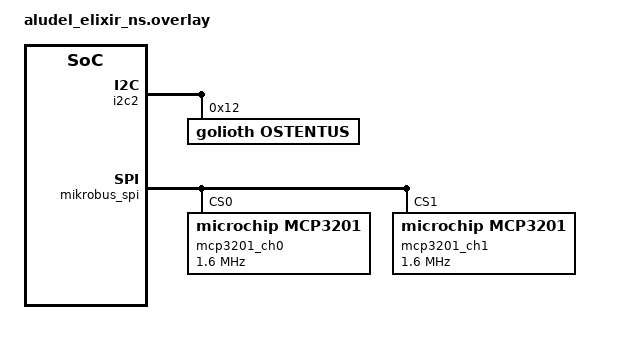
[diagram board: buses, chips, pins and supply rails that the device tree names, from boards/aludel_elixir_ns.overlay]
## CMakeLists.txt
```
# Copyright (c) 2023 Golioth, Inc.
# SPDX-License-Identifier: Apache-2.0

cmake_minimum_required(VERSION 3.20.0)

find_package(Zephyr REQUIRED HINTS $ENV{ZEPHYR_BASE})

project(ac_powermonitor)

target_sources(app PRIVATE src/main.c)
target_sources(app PRIVATE src/app_rpc.c)
target_sources(app PRIVATE src/app_settings.c)
target_sources(app PRIVATE src/app_state.c)
target_sources(app PRIVATE src/app_sensors.c)
```

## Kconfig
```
# Copyright (c) 2023 Golioth, Inc.
# SPDX-License-Identifier: Apache-2.0

mainmenu "Golioth application options"

if DNS_RESOLVER

config DNS_SERVER_IP_ADDRESSES
	default y

config DNS_SERVER1
	default "1.1.1.1"

endif # DNS_RESOLVER

source "Kconfig.zephyr"
```

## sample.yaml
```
# Copyright (c) 2023 Golioth, Inc.
# SPDX-License-Identifier: Apache-2.0

sample:
  description: Golioth AC Power Monitor Reference Design
  name: powermonitor
common:
  harness: net
  platform_allow: >
    nrf9160dk_nrf9160_ns
  tags: golioth
```

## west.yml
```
# Copyright (c) 2023 Golioth, Inc.
# SPDX-License-Identifier: Apache-2.0

manifest:
  version: 1.0

  projects:
    - name: golioth
      path: modules/lib/golioth-firmware-sdk
      revision: v0.21.0
      url: https://github.com/golioth/golioth-firmware-sdk.git
      west-commands: scripts/west-commands.yml
      submodules: true
      import:
        file: west-ncs.yml
        path-prefix: deps
        name-allowlist:
          - nrf
          - zephyr
          - cmsis_6
          - hal_nordic
          - mbedtls
          - mbedtls-nrf
          - mcuboot
          - net-tools
          - nrfxlib
          - oberon-psa-crypto
          - qcbor
          - segger
          - tfm-mcuboot
          - tinycrypt
          - trusted-firmware-m
          - zcbor

    - name: golioth-zephyr-boards
      path: deps/modules/lib/golioth-boards
      revision: v2.1.1
      url: https://github.com/golioth/golioth-zephyr-boards

    - name: libostentus
      path: deps/modules/lib/libostentus
      revision: v2.0.0
      url: https://github.com/golioth/libostentus

    - name: zephyr-network-info
      path: deps/modules/lib/network-info
      revision: v1.2.0
      url: https://github.com/golioth/zephyr-network-info

    - name: golioth-battery-monitor
      path: deps/modules/lib/battery-monitor
      revision: v1.1.0
      url: https://github.com/golioth/battery-monitor

  self:
    path: app
```

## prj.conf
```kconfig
# Copyright (c) 2022-2023 Golioth, Inc.
# SPDX-License-Identifier: Apache-2.0

# Enable Golioth Firmware SDK
CONFIG_GOLIOTH_FIRMWARE_SDK=y

# Golioth services used in this app
CONFIG_GOLIOTH_FW_UPDATE=y
CONFIG_GOLIOTH_LIGHTDB_STATE=y
CONFIG_LOG_BACKEND_GOLIOTH=y
CONFIG_GOLIOTH_RPC=y
CONFIG_GOLIOTH_SETTINGS=y
CONFIG_GOLIOTH_STREAM=y

# Enable common sample library
CONFIG_GOLIOTH_SAMPLE_COMMON=y

# Configure Golioth SDK dependencies
CONFIG_ZVFS_EVENTFD_MAX=14
CONFIG_ZVFS_OPEN_MAX=23
CONFIG_LOG_PROCESS_THREAD_STACK_SIZE=1536
CONFIG_MBEDTLS_ENABLE_HEAP=y
CONFIG_MBEDTLS_HEAP_SIZE=10240
CONFIG_NETWORKING=y
CONFIG_NET_IPV4=y
CONFIG_COAP_EXTENDED_OPTIONS_LEN=y
CONFIG_COAP_EXTENDED_OPTIONS_LEN_VALUE=39

# Application
CONFIG_MAIN_STACK_SIZE=4096
CONFIG_SYSTEM_WORKQUEUE_STACK_SIZE=4096
CONFIG_NET_LOG=y
CONFIG_NET_SHELL=y
CONFIG_REBOOT=y

# Flash memory (etc.) for firmware upgrade
CONFIG_FLASH=y
CONFIG_FLASH_MAP=y
CONFIG_NVS=y
CONFIG_STREAM_FLASH=y
CONFIG_IMG_MANAGER=y
CONFIG_IMG_ERASE_PROGRESSIVELY=y
CONFIG_REBOOT=y

# The rest of the runtime credentials config
CONFIG_SETTINGS=y
CONFIG_SETTINGS_RUNTIME=y
CONFIG_GOLIOTH_SAMPLE_SETTINGS_AUTOLOAD=y
CONFIG_GOLIOTH_SAMPLE_SETTINGS_SHELL=y

# Misc.
CONFIG_JSON_LIBRARY=y

# Longer response length needed for network info
CONFIG_GOLIOTH_RPC_MAX_RESPONSE_LEN=512
CONFIG_I2C=y

CONFIG_GPIO=y
CONFIG_SPI=y

CONFIG_CBPRINTF_FP_SUPPORT=y
```

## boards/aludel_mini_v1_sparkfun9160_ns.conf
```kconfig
# Copyright (c) 2023 Golioth, Inc.
# SPDX-License-Identifier: Apache-2.0

# General config
CONFIG_HEAP_MEM_POOL_SIZE=4096
CONFIG_NEWLIB_LIBC=y

# Networking
CONFIG_NET_SOCKETS_OFFLOAD=y
CONFIG_NET_IPV6=y
CONFIG_NET_IPV6_NBR_CACHE=n
CONFIG_NET_IPV6_MLD=n

# Increase native TLS socket implementation, so that it is chosen instead of
# offloaded nRF91 sockets
CONFIG_NET_SOCKETS_TLS_PRIORITY=35

# Modem library
CONFIG_NRF_MODEM_LIB=y
CONFIG_NRF_MODEM_LIB_ON_FAULT_APPLICATION_SPECIFIC=y

# LTE connectivity with network connection manager
CONFIG_LTE_CONNECTIVITY=y
CONFIG_NET_CONNECTION_MANAGER=y
CONFIG_NET_CONNECTION_MANAGER_STACK_SIZE=1024

# Increased sysworkq size, due to LTE connectivity
CONFIG_SYSTEM_WORKQUEUE_STACK_SIZE=2048

# Disable options y-selected by NCS for no good reason
CONFIG_MBEDTLS_KEY_EXCHANGE_DHE_PSK_ENABLED=n
CONFIG_MBEDTLS_KEY_EXCHANGE_DHE_RSA_ENABLED=n

# Add Network Info Support
CONFIG_MODEM_INFO=y
CONFIG_GOLIOTH_RPC_MAX_RESPONSE_LEN=512

# Generate MCUboot compatible images
CONFIG_BOOTLOADER_MCUBOOT=y
```

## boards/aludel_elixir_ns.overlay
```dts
&i2c2 {
	/* Needed for I2C writes used by libostentus */
	zephyr,concat-buf-size = <48>;

	ostentus@12 {
		status = "okay";
		compatible = "golioth,ostentus";
		reg = <0x12>;
	};
};

&mikrobus_spi {
	status = "okay";

	mcp3201_ch0: mcp3201@0 {
		compatible = "microchip,mcp3201";
		reg = <0>;
		spi-max-frequency = <1600000>;
	};

	mcp3201_ch1: mcp3201@1 {
		compatible = "microchip,mcp3201";
		reg = <1>;
		spi-max-frequency = <1600000>;
	};
};
```

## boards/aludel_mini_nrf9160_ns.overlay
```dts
&i2c2 {
	/* Needed for I2C writes used by libostentus */
	zephyr,concat-buf-size = <48>;

	ostentus@12 {
		status = "okay";
		compatible = "golioth,ostentus";
		reg = <0x12>;
	};
};

&mikrobus_spi {
	status = "okay";

	mcp3201_ch0: mcp3201@0 {
		compatible = "microchip,mcp3201";
		reg = <0>;
		spi-max-frequency = <1600000>;
	};

	mcp3201_ch1: mcp3201@1 {
		compatible = "microchip,mcp3201";
		reg = <1>;
		spi-max-frequency = <1600000>;
	};
};

&uart1 {
	status = "disabled";
};
```

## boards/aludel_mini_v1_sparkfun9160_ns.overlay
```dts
&spi2 {
	mcp3201_ch0: mcp3201@0 {
		compatible = "microchip,mcp3201";
		reg = <0>;
		spi-max-frequency = <1600000>;
	};
	mcp3201_ch1: mcp3201@1 {
		compatible = "microchip,mcp3201";
		reg = <1>;
		spi-max-frequency = <1600000>;
	};
};
```

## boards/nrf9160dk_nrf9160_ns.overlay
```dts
/*
 * Copyright (c) 2023 Golioth, Inc.
 *
 * SPDX-License-Identifier: Apache-2.0
 */

/ {
	aliases {
		golioth-led = &led2;
	};
};

&arduino_spi {
	status = "okay";
	cs-gpios = <&arduino_header 16 GPIO_ACTIVE_LOW>, /* D10 */
		   <&arduino_header 15 GPIO_ACTIVE_LOW>; /* D9 */

	mcp3201_ch0: mcp3201@0 {
		compatible = "microchip,mcp3201";
		reg = <0>;
		spi-max-frequency = <1600000>;
	};
	mcp3201_ch1: mcp3201@1 {
		compatible = "microchip,mcp3201";
		reg = <1>;
		spi-max-frequency = <1600000>;
	};
};

&pinctrl {
	/*
	 * Arduino Uno provides the same SCL/SDA on two sets of pins, but the
	 * nRF9160-DK maps these pins to two different pairs of GPIO. When using
	 * the Arduino Uno Click Shield board, the P0.18/P0.19 pair must be used.
	 */
	i2c2_default: i2c2_default {
		group1 {
			psels = <NRF_PSEL(TWIM_SDA, 0, 18)>,
				<NRF_PSEL(TWIM_SCL, 0, 19)>;
		};
	};

	i2c2_sleep: i2c2_sleep {
		group1 {
			psels = <NRF_PSEL(TWIM_SDA, 0, 18)>,
				<NRF_PSEL(TWIM_SCL, 0, 19)>;
			low-power-enable;
		};
	};

	/*
	 * The default pin group includes RTS/CTS HW flow control, but the Arduino
	 * Uno Click Shield board does not connect these pins (only TX/RX are used).
	 * This keeps RX/TX on the same pins, but just removes RTS/CTS from the
	 * pin groups.
	 */
	uart1_default: uart1_default {
		group1 {
			psels = <NRF_PSEL(UART_TX, 0, 1)>,
				<NRF_PSEL(UART_RX, 0, 0)>;
		};
	};

	uart1_sleep: uart1_sleep {
		group1 {
			psels = <NRF_PSEL(UART_TX, 0, 1)>,
				<NRF_PSEL(UART_RX, 0, 0)>;
			low-power-enable;
		};
	};
};
```

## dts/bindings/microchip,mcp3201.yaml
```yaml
# Copyright (c) 2023 Golioth, Inc.
# SPDX-License-Identifier: Apache-2.0

description: |
    MCP3201 used to measure voltage from an AC current clamp
compatible: "microchip,mcp3201"

include: spi-device.yaml
```

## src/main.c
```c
/*
 * Copyright (c) 2023 Golioth, Inc.
 *
 * SPDX-License-Identifier: Apache-2.0
 */

#include <zephyr/logging/log.h>
LOG_MODULE_REGISTER(golioth_ac_powermonitor, LOG_LEVEL_DBG);

#include <app_version.h>
#include "app_rpc.h"
#include "app_settings.h"
#include "app_state.h"
#include "app_sensors.h"
#include <golioth/client.h>
#include <golioth/fw_update.h>
#include <samples/common/net_connect.h>
#include <samples/common/sample_credentials.h>
#include <zephyr/kernel.h>

#ifdef CONFIG_SOC_SERIES_NRF91X
#include <modem/lte_lc.h>
#endif
#ifdef CONFIG_LIB_OSTENTUS
#include <libostentus.h>
#include <libostentus_regmap.h>
static const struct device *o_dev = DEVICE_DT_GET_ANY(golioth_ostentus);
#endif
#ifdef CONFIG_ALUDEL_BATTERY_MONITOR
#include <battery_monitor.h>
#endif

#include <zephyr/drivers/gpio.h>

#ifdef CONFIG_MODEM_INFO
#include <modem/modem_info.h>
#endif

/* Current firmware version; update in VERSION */
static const char *_current_version =
	STRINGIFY(APP_VERSION_MAJOR) "." STRINGIFY(APP_VERSION_MINOR) "." STRINGIFY(APP_PATCHLEVEL);

static struct golioth_client *client;
K_SEM_DEFINE(connected, 0, 1);

static k_tid_t _system_thread = 0;

#if DT_NODE_EXISTS(DT_ALIAS(golioth_led))
static const struct gpio_dt_spec golioth_led = GPIO_DT_SPEC_GET(DT_ALIAS(golioth_led), gpios);
#endif /* DT_NODE_EXISTS(DT_ALIAS(golioth_led)) */
static const struct gpio_dt_spec user_btn = GPIO_DT_SPEC_GET(DT_ALIAS(sw1), gpios);
static struct gpio_callback button_cb_data;

/* forward declarations */
void golioth_connection_led_set(uint8_t state);

void wake_system_thread(void)
{
	k_wakeup(_system_thread);
}

static void on_client_event(struct golioth_client *client, enum golioth_client_event event,
			    void *arg)
{
	bool is_connected = (event == GOLIOTH_CLIENT_EVENT_CONNECTED);

	if (is_connected) {
		k_sem_give(&connected);
		golioth_connection_led_set(1);
	}
	LOG_INF("Golioth client %s", is_connected ? "connected" : "disconnected");
}

static void start_golioth_client(void)
{
	/* Get the client configuration from auto-loaded settings */
	const struct golioth_client_config *client_config = golioth_sample_credentials_get();

	/* Create and start a Golioth Client */
	client = golioth_client_create(client_config);

	/* Register Golioth on_connect callback */
	golioth_client_register_event_callback(client, on_client_event, NULL);

	/* Initialize DFU components */
	golioth_fw_update_init(client, _current_version);

	/*** Call Golioth APIs for other services in dedicated app files ***/

	/* Observe State service data */
	app_state_observe(client);

	/* Set Golioth Client for streaming sensor data */
	app_sensors_set_client(client);

	/* Register Settings service */
	app_settings_register(client);

	/* Register RPC service */
	app_rpc_register(client);
}

#ifdef CONFIG_SOC_SERIES_NRF91X

static void lte_handler(const struct lte_lc_evt *const evt)
{
	if (evt->type == LTE_LC_EVT_NW_REG_STATUS) {

		if ((evt->nw_reg_status == LTE_LC_NW_REG_REGISTERED_HOME) ||
		    (evt->nw_reg_status == LTE_LC_NW_REG_REGISTERED_ROAMING)) {

			/* Change the state of the Internet LED on Ostentus */
			IF_ENABLED(CONFIG_LIB_OSTENTUS, (ostentus_led_internet_set(o_dev, 1);));

			if (!client) {
				/* Create and start a Golioth Client */
				start_golioth_client();
			}
		}
	}
}

#endif /* CONFIG_SOC_SERIES_NRF91X */

#ifdef CONFIG_MODEM_INFO
static void log_modem_firmware_version(void)
{
	char sbuf[128];

	/* Initialize modem info */
	int err = modem_info_init();

	if (err) {
		LOG_ERR("Failed to initialize modem info: %d", err);
	}

	/* Log modem firmware version */
	modem_info_string_get(MODEM_INFO_FW_VERSION, sbuf, sizeof(sbuf));
	LOG_INF("Modem firmware version: %s", sbuf);
}
#endif

void button_pressed(const struct device *dev, struct gpio_callback *cb, uint32_t pins)
{
	LOG_DBG("Button pressed at %d", k_cycle_get_32());
	/* This function is an Interrupt Service Routine. Do not call functions that
	 * use other threads, or perform long-running operations here
	 */
	k_wakeup(_system_thread);
}

/* Set (unset) LED indicators for active Golioth connection */
void golioth_connection_led_set(uint8_t state)
{
	uint8_t pin_state = state ? 1 : 0;
	ARG_UNUSED(pin_state); /* silence warning if no LED/Ostentus present */

	/* Turn on Golioth logo LED once connected */
	IF_ENABLED(DT_NODE_EXISTS(DT_ALIAS(golioth_led)),
		(gpio_pin_set_dt(&golioth_led, pin_state);));

	/* Change the state of the Golioth LED on Ostentus */
	IF_ENABLED(CONFIG_LIB_OSTENTUS, (ostentus_led_golioth_set(o_dev, pin_state);));
}

int main(void)
{
	int err;

	LOG_DBG("Start AC Power Monitor Reference Design");

	LOG_INF("Firmware version: %s", _current_version);
	IF_ENABLED(CONFIG_MODEM_INFO, (log_modem_firmware_version();));

	IF_ENABLED(CONFIG_LIB_OSTENTUS, (
		/* Reset Ostentus and pause for reboot */
		ostentus_reset(o_dev);
		k_msleep(300);

		/* Read firmware version from faceplate */
		char *o_version = (char *)calloc(32, sizeof(char));

		ostentus_version_get(o_dev, o_version, 32);
		LOG_INF("Ostentus reports firmware version: %s", o_version);
		free(o_version);

		/* Update Ostentus LEDS using bitmask (Power On and Battery) */
		ostentus_led_bitmask(o_dev, LED_POW | LED_BAT);

		/* Show Golioth Logo on Ostentus ePaper screen */
		ostentus_show_splash(o_dev);
	));

	/* Get system thread id so loop delay change event can wake main */
	_system_thread = k_current_get();

	/* Initialize sensors */
	app_sensors_init();

#if DT_NODE_EXISTS(DT_ALIAS(golioth_led))
	/* Initialize Golioth logo LED */
	err = gpio_pin_configure_dt(&golioth_led, GPIO_OUTPUT_INACTIVE);
	if (err) {
		LOG_ERR("Unable to configure LED for Golioth Logo");
	}
#endif /* #if DT_NODE_EXISTS(DT_ALIAS(golioth_led)) */

#ifdef CONFIG_SOC_SERIES_NRF91X
	/* Start LTE asynchronously if the nRF9160 is used.
	 * Golioth Client will start automatically when LTE connects
	 */

	LOG_INF("Connecting to LTE, this may take some time...");
	lte_lc_connect_async(lte_handler);

#else
	/* If nRF9160 is not used, start the Golioth Client and block until connected */

	/* Run WiFi/DHCP if necessary */
	if (IS_ENABLED(CONFIG_GOLIOTH_SAMPLE_COMMON)) {
		net_connect();
	}

	/* Start Golioth client */
	start_golioth_client();

	/* Block until connected to Golioth */
	k_sem_take(&connected, K_FOREVER);
#endif /* CONFIG_SOC_SERIES_NRF91X */

	/* Set up user button */
	err = gpio_pin_configure_dt(&user_btn, GPIO_INPUT);
	if (err) {
		LOG_ERR("Error %d: failed to configure %s pin %d", err, user_btn.port->name,
			user_btn.pin);
		return err;
	}

	err = gpio_pin_interrupt_configure_dt(&user_btn, GPIO_INT_EDGE_TO_ACTIVE);
	if (err) {
		LOG_ERR("Error %d: failed to configure interrupt on %s pin %d", err,
			user_btn.port->name, user_btn.pin);
		return err;
	}

	gpio_init_callback(&button_cb_data, button_pressed, BIT(user_btn.pin));
	gpio_add_callback(user_btn.port, &button_cb_data);

	IF_ENABLED(CONFIG_LIB_OSTENTUS,(
		/* Set up a slideshow on Ostentus
		 *  - add up to 256 slides
		 *  - use the enum in app_sensors.h to add new keys
		 *  - values are updated using these keys (see app_sensors.c)
		 */
		ostentus_slide_add(o_dev, CH0_CURRENT, CH0_CUR_LABEL, strlen(CH0_CUR_LABEL));
		ostentus_slide_add(o_dev, CH1_CURRENT, CH1_CUR_LABEL, strlen(CH1_CUR_LABEL));

		ostentus_slide_add(o_dev, CH0_ONTIME, CH0_ONTIME_LBL, strlen(CH0_ONTIME_LBL));
		ostentus_slide_add(o_dev, CH1_ONTIME, CH1_ONTIME_LBL, strlen(CH1_ONTIME_LBL));

		IF_ENABLED(CONFIG_ALUDEL_BATTERY_MONITOR, (
			ostentus_slide_add(o_dev,
					   BATTERY_V,
					   LABEL_BATTERY,
					   strlen(LABEL_BATTERY));
			ostentus_slide_add(o_dev,
					   BATTERY_PCT,
					   LABEL_BATTERY,
					   strlen(LABEL_BATTERY));
		));
		ostentus_slide_add(o_dev, FIRMWARE, LABEL_FIRMWARE, strlen(LABEL_FIRMWARE));

		/* Set the title of the Ostentus summary slide (optional) */
		ostentus_summary_title(o_dev, SUMMARY_TITLE, strlen(SUMMARY_TITLE));

		/* Update the Firmware slide with the firmware version */
		ostentus_slide_set(o_dev, FIRMWARE, (char *)_current_version,
			  strlen(_current_version));

		/* Start Ostentus slideshow with 30 second delay between slides */
		ostentus_slideshow(o_dev, 30000);
	));

	while (true) {
		app_sensors_read_and_stream();

		k_sleep(K_SECONDS(get_loop_delay_s()));
	}
}
```

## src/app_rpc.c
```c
/*
 * Copyright (c) 2023 Golioth, Inc.
 *
 * SPDX-License-Identifier: Apache-2.0
 */

#include <zephyr/logging/log.h>
#include <zephyr/logging/log_ctrl.h>
LOG_MODULE_REGISTER(app_rpc, LOG_LEVEL_DBG);

#include <golioth/client.h>
#include <golioth/rpc.h>
#include <zephyr/logging/log_ctrl.h>
#include <zephyr/sys/reboot.h>

#ifdef CONFIG_NETWORK_INFO
#include <network_info.h>
#endif

#include "main.h"
#include "app_sensors.h"
#include "app_rpc.h"

static void reboot_work_handler(struct k_work *work)
{
	for (int8_t i = 5; i >= 0; i--) {
		if (i) {
			LOG_INF("Rebooting in %d seconds...", i);
		}
		k_sleep(K_SECONDS(1));
	}

	/* Sync logs before reboot */
	LOG_PANIC();

	sys_reboot(SYS_REBOOT_COLD);
}
K_WORK_DEFINE(reboot_work, reboot_work_handler);

static enum golioth_rpc_status on_get_network_info(zcbor_state_t *request_params_array,
						   zcbor_state_t *response_detail_map,
						   void *callback_arg)
{
	COND_CODE_1(CONFIG_NETWORK_INFO,
		    (network_info_add_to_map(response_detail_map); return GOLIOTH_RPC_OK;),
		    (return GOLIOTH_RPC_UNIMPLEMENTED););
}

static enum golioth_rpc_status on_set_log_level(zcbor_state_t *request_params_array,
						zcbor_state_t *response_detail_map,
						void *callback_arg)
{
	double param_0;
	uint8_t log_level;
	bool ok;

	LOG_WRN("on_set_log_level");

	ok = zcbor_float_decode(request_params_array, &param_0);
	if (!ok) {
		LOG_ERR("Failed to decode array item");
		return GOLIOTH_RPC_INVALID_ARGUMENT;
	}

	log_level = (uint8_t)param_0;

	if ((log_level < 0) || (log_level > LOG_LEVEL_DBG)) {

		LOG_ERR("Requested log level is out of bounds: %d", log_level);
		return GOLIOTH_RPC_INVALID_ARGUMENT;
	}

	int source_id = 0;
	char *source_name;

	while (1) {
		source_name = (char *)log_source_name_get(0, source_id);
		if (source_name == NULL) {
			break;
		}

		log_filter_set(NULL, 0, source_id, log_level);
		++source_id;
	}

	LOG_WRN("Log levels for %d modules set to: %d", source_id, log_level);

	ok = zcbor_tstr_put_lit(response_detail_map, "log_modules") &&
	     zcbor_float64_put(response_detail_map, (double)source_id);

	return GOLIOTH_RPC_OK;
}

static enum golioth_rpc_status on_reboot(zcbor_state_t *request_params_array,
					 zcbor_state_t *response_detail_map, void *callback_arg)
{
	/* Use work queue so this RPC can return confirmation to Golioth */
	k_work_submit(&reboot_work);

	return GOLIOTH_RPC_OK;
}

static enum golioth_rpc_status on_reset_cumulative(zcbor_state_t *request_params_array,
						   zcbor_state_t *response_detail_map,
						   void *callback_arg)
{
	LOG_INF("Request to reset cumulative values received. Processing now.");
	int err = reset_cumulative_totals();
	if (0 != err)
	{
		return GOLIOTH_RPC_PERMISSION_DENIED;
	}

	wake_system_thread();
	return GOLIOTH_RPC_OK;
}

static void rpc_log_if_register_failure(int err)
{
	if (err) {
		LOG_ERR("Failed to register RPC: %d", err);
	}
}

void app_rpc_register(struct golioth_client *client)
{
	struct golioth_rpc *rpc = golioth_rpc_init(client);

	int err;

	err = golioth_rpc_register(rpc, "get_network_info", on_get_network_info, NULL);
	rpc_log_if_register_failure(err);

	err = golioth_rpc_register(rpc, "reboot", on_reboot, NULL);
	rpc_log_if_register_failure(err);

	err = golioth_rpc_register(rpc, "reset_cumulative", on_reset_cumulative, NULL);
	rpc_log_if_register_failure(err);

	err = golioth_rpc_register(rpc, "set_log_level", on_set_log_level, NULL);
	rpc_log_if_register_failure(err);
}
```

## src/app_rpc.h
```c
/*
 * Copyright (c) 2023 Golioth, Inc.
 *
 * SPDX-License-Identifier: Apache-2.0
 */

/**
 * Handle remote procedure calls received from Golioth, returning a status code
 * indicating the success or failure of the call.
 *
 * This demonstration implements the following RPCs:
 * - `get_network_info`: Query and return network information.
 * - `reboot`: reboot the device (no arguments)
 * - `set_log_level`: adjust the logging level for all registered modules (valid
 *   argument values: 0..4)
 *
 * https://docs.golioth.io/firmware/zephyr-device-sdk/remote-procedure-call
 */

#ifndef __APP_RPC_H__
#define __APP_RPC_H__

#include <golioth/client.h>

void app_rpc_register(struct golioth_client *client);

#endif /* __APP_RPC_H__ */
```

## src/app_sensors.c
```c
/*
 * Copyright (c) 2023 Golioth, Inc.
 *
 * SPDX-License-Identifier: Apache-2.0
 */

#include <zephyr/logging/log.h>
LOG_MODULE_REGISTER(app_sensors, LOG_LEVEL_DBG);

#include <stdlib.h>
#include <golioth/client.h>
#include <golioth/lightdb_state.h>
#include <golioth/payload_utils.h>
#include <golioth/stream.h>
#include <zcbor_decode.h>
#include <zcbor_encode.h>
#include <zephyr/drivers/spi.h>
#include <zephyr/drivers/gpio.h>
#include <zephyr/drivers/sensor.h>

#include "app_sensors.h"
#include "app_state.h"
#include "app_settings.h"

#ifdef CONFIG_LIB_OSTENTUS
#include <libostentus.h>
static const struct device *o_dev = DEVICE_DT_GET_ANY(golioth_ostentus);
#endif
#ifdef CONFIG_ALUDEL_BATTERY_MONITOR
#include <battery_monitor.h>
#endif

#define ADC_RAW_TO_AMP (0.003529412f)
#define SPI_OP	SPI_OP_MODE_MASTER | SPI_MODE_CPOL | SPI_MODE_CPHA | SPI_WORD_SET(8) | SPI_LINES_SINGLE

static struct golioth_client *client;

struct k_sem adc_data_sem;

/* Formatting string for sending sensor JSON to Golioth */
#define JSON_FMT "{\"ch0\":%d,\"ch1\":%d}"
#define ADC_STREAM_ENDP	"sensor"
#define ADC_CUMULATIVE_ENDP	"state/cumulative"

#define ADC_CH0 0
#define ADC_CH1 1

adc_node_t adc_ch0 = {
	.spi = SPI_DT_SPEC_GET(DT_NODELABEL(mcp3201_ch0), SPI_OP, 0),
	.ch_num = ADC_CH0,
	.laston = -1,
	.runtime = 0,
	.total_unreported = 0,
	.total_cloud = 0,
	.loaded_from_cloud = false
};

adc_node_t adc_ch1 = {
	.spi = SPI_DT_SPEC_GET(DT_NODELABEL(mcp3201_ch1), SPI_OP, 0),
	.ch_num = ADC_CH1,
	.laston = -1,
	.runtime = 0,
	.total_unreported = 0,
	.total_cloud = 0,
	.loaded_from_cloud = false
};

/* Store two values for each ADC reading */
struct mcp3201_data {
	uint16_t val1;
	uint16_t val2;
};

int get_ontime(struct ontime *ot)
{
	if (k_sem_take(&adc_data_sem, K_MSEC(300)) == 0) {
		ot->ch0 = adc_ch0.runtime;
		ot->ch1 = adc_ch1.runtime;
		k_sem_give(&adc_data_sem);
		return 0;
	}

	return -ENOLCK;
}

/* Callback for LightDB Stream */
static void async_error_handler(struct golioth_client *client, enum golioth_status status,
				const struct golioth_coap_rsp_code *coap_rsp_code, const char *path,
				void *arg)
{
	if (status != GOLIOTH_OK) {
		LOG_ERR("Async task failed: %d", status);
		return;
	}
}

/*
 * Validate data received from MCP3201
 */
static int process_adc_reading(uint8_t buf_data[4], struct mcp3201_data *adc_data)
{
	if (buf_data[0] & 1<<5) {	/* Missing NULL bit */
		return -ENOTSUP;
	}

	uint16_t data_msb = 0;
	uint16_t data_lsb = 0;

	data_msb = buf_data[0] & 0x1F;
	data_msb |= (data_msb << 7) | (buf_data[1] >> 1);

	for (uint8_t i = 0; i < 12; i++) {
		bool bit_set = false;

		if (i < 2) {
			if (buf_data[1] & (1 << (1 - i))) {
				bit_set = true;
			}
		} else if (i < 10) {
			if (buf_data[2] & (1 << (2 + 7 - i))) {
				bit_set = true;
			}
		} else {
			if (buf_data[3] & (1 << (10 + 7 - i))) {
				bit_set = true;
			}
		}
		if (bit_set) {
			data_lsb |= (1 << i);
		}
	}

	adc_data->val1 = data_msb;
	adc_data->val2 = data_lsb;

	return 0;
}

static int get_adc_reading(adc_node_t *adc, struct mcp3201_data *adc_data)
{
	int err;
	static uint8_t my_buffer[4] = {0};
	struct spi_buf my_spi_buffer[1];

	my_spi_buffer[0].buf = my_buffer;
	my_spi_buffer[0].len = 4;
	const struct spi_buf_set rx_buff = { my_spi_buffer, 1 };

	err = spi_read_dt(&(adc->spi), &rx_buff);
	if (err) {
		LOG_INF("spi_read status: %d", err);
		return err;
	}
	LOG_DBG("Received 4 bytes: %d %d %d %d", my_buffer[0], my_buffer[1], my_buffer[2], my_buffer[3]);

	err = process_adc_reading(my_buffer, adc_data);
	if (err) {
		LOG_ERR("Failed to process ADC readings %d", err);
		return err;
	}

	LOG_INF("mcp3201_ch%d received two ADC readings: 0x%04x\t0x%04x",
		adc->ch_num, adc_data->val1, adc_data->val2);

	return 0;
}

static int push_adc_to_golioth(uint16_t ch0_data, uint16_t ch1_data)
{
	int err;
	char json_buf[128];

	snprintk(json_buf, sizeof(json_buf), JSON_FMT, ch0_data, ch1_data);

	/* Only stream sensor data if connected */
	if (golioth_client_is_connected(client)) {
		err = golioth_stream_set_async(client,
					ADC_STREAM_ENDP,
					GOLIOTH_CONTENT_TYPE_JSON,
					json_buf,
					strlen(json_buf),
					async_error_handler,
					NULL);
		if (err) {
			LOG_ERR("Failed to send sensor data to Golioth: %d", err);
			return err;
		}

		app_state_report_ontime(&adc_ch0, &adc_ch1);
	}

	return 0;
}

static void update_ontime(uint16_t adc_value, adc_node_t *ch)
{
	if (k_sem_take(&adc_data_sem, K_MSEC(300)) == 0) {
		if (adc_value <= get_adc_floor(ch->ch_num)) {
			ch->runtime = 0;
			ch->laston = -1;
		} else {
			int64_t ts = k_uptime_get();
			int64_t duration;

			if (ch->laston > 0) {
				duration = ts - ch->laston;
			} else {
				duration = 1;
			}
			ch->runtime += duration;
			ch->laston = ts;
			ch->total_unreported += duration;
		}
		k_sem_give(&adc_data_sem);
		return;
	}

	LOG_ERR("Failed to update ontime for ch%d: semaphore unavailable", ch->ch_num);
}

int reset_cumulative_totals(void)
{
	if (k_sem_take(&adc_data_sem, K_MSEC(5000)) == 0) {
		adc_ch0.total_cloud = 0;
		adc_ch1.total_cloud = 0;
		adc_ch0.total_unreported = 0;
		adc_ch1.total_unreported = 0;
		k_sem_give(&adc_data_sem);

		return 0;
	}

	LOG_ERR("Could not reset cumulative values; blocked by semaphore.");

	return -EACCES;
}


static void get_cumulative_handler(struct golioth_client *client, enum golioth_status status,
				      const struct golioth_coap_rsp_code *coap_rsp_code,
				      const char *path, const uint8_t *payload, size_t payload_size,
				      void *arg)
{
	if (status != GOLIOTH_OK) {
		LOG_ERR("Failed to receive '%s' endpoint: %d", APP_STATE_DESIRED_ENDP, status);
		return;
	}

	if ((payload_size == 1) && (payload[0] == 0xf6)) {
		/* 0xf6 is `null` in CBOR */
		LOG_WRN("Cumulative state is null, use runtime as cumulative on next update.");
		if (k_sem_take(&adc_data_sem, K_MSEC(300)) == 0) {
			adc_ch0.loaded_from_cloud = true;
			adc_ch1.loaded_from_cloud = true;
			k_sem_give(&adc_data_sem);
		}
		return;
	}

	uint64_t decoded_ch0 = 0;
	uint64_t decoded_ch1 = 0;
	bool found_ch0 = false;
	bool found_ch1 = false;

	struct zcbor_string key;
	uint64_t data;
	bool ok;

	ZCBOR_STATE_D(decoding_state, 1, payload, payload_size, 1, NULL);
	ok = zcbor_map_start_decode(decoding_state);
	if (!ok) {
		goto cumulative_decode_error;
	}

	while (decoding_state->elem_count > 1) {
		ok = zcbor_tstr_decode(decoding_state, &key) &&
		     zcbor_uint64_decode(decoding_state, &data);
		if (!ok) {
			goto cumulative_decode_error;
		}

		if (strncmp(key.value, "ch0", 3) == 0) {
			found_ch0 = true;
			decoded_ch0 = data;
		} else if (strncmp(key.value, "ch1", 3) == 0) {
			found_ch1 = true;
			decoded_ch1 = data;
		} else {
			continue;
		}
	}

	if ((found_ch0 && found_ch1) == false) {
		goto cumulative_decode_error;
	} else {
		LOG_DBG("Decoded: ch0: %lld, ch1: %lld", decoded_ch0, decoded_ch1);
		if (k_sem_take(&adc_data_sem, K_MSEC(300)) == 0) {
			adc_ch0.total_cloud = decoded_ch0;
			adc_ch1.total_cloud = decoded_ch1;
			adc_ch0.loaded_from_cloud = true;
			adc_ch1.loaded_from_cloud = true;
			k_sem_give(&adc_data_sem);
		}
		return;
	}

cumulative_decode_error:
	LOG_ERR("ZCBOR Decoding Error");
	LOG_HEXDUMP_ERR(payload, payload_size, "cbor_payload");
}

void app_work_on_connect(void)
{
	/* Get cumulative "on" time from Golioth LightDB State */
	int err;

	err = golioth_lightdb_get_async(client,
					ADC_CUMULATIVE_ENDP,
					GOLIOTH_CONTENT_TYPE_CBOR,
					get_cumulative_handler,
					NULL);
	if (err) {
		LOG_WRN("failed to get cumulative channel data from LightDB: %d", err);
	}
}

/* this will be called by the main() loop */
/* do all of your work here! */
void app_sensors_read_and_stream(void)
{
	struct mcp3201_data ch0_data, ch1_data;

	/* Golioth custom hardware for demos */
	IF_ENABLED(CONFIG_ALUDEL_BATTERY_MONITOR, (
		read_and_report_battery(client);
		IF_ENABLED(CONFIG_LIB_OSTENTUS, (
			ostentus_slide_set(o_dev,
					   BATTERY_V,
					   get_batt_v_str(),
					   strlen(get_batt_v_str()));
			ostentus_slide_set(o_dev,
					   BATTERY_PCT,
					   get_batt_pct_str(),
					   strlen(get_batt_pct_str()));
		));
	));

	get_adc_reading(&adc_ch0, &ch0_data);
	get_adc_reading(&adc_ch1, &ch1_data);

	/* Calculate the "On" time if readings are not zero */
	update_ontime(ch0_data.val1, &adc_ch0);
	update_ontime(ch1_data.val1, &adc_ch1);

	if (k_sem_take(&adc_data_sem, K_MSEC(300)) == 0) {
		LOG_DBG("Ontime:\t(ch0): %lld\t(ch1): %lld", adc_ch0.runtime, adc_ch1.runtime);
		k_sem_give(&adc_data_sem);
	}

	/* Send sensor data to Golioth */
	/* Two values were read for each sensor but we'll record only one from each
	 * channel as it's unlikely the two readings will be substantially
	 * different.
	 */
	push_adc_to_golioth(ch0_data.val1, ch1_data.val1);

	IF_ENABLED(CONFIG_LIB_OSTENTUS, (
		/* Update slide values on Ostentus
		 * - values should be sent as strings
		 * - use the enum from app_work.h for slide key values
		 */
		char json_buf[128];

		snprintk(json_buf, sizeof(json_buf), "%.2f A", (double)(ch0_data.val1 * ADC_RAW_TO_AMP));
		ostentus_slide_set(o_dev, CH0_CURRENT, json_buf, strlen(json_buf));

		snprintk(json_buf, sizeof(json_buf), "%.2f A", (double)(ch1_data.val1 * ADC_RAW_TO_AMP));
		ostentus_slide_set(o_dev, CH1_CURRENT, json_buf, strlen(json_buf));

		if (k_sem_take(&adc_data_sem, K_MSEC(300)) == 0) {
			snprintk(json_buf, sizeof(json_buf), "%lld s", (adc_ch0.runtime / 1000));
			ostentus_slide_set(o_dev, CH0_ONTIME, json_buf, strlen(json_buf));

			snprintk(json_buf, sizeof(json_buf), "%lld s", (adc_ch1.runtime / 1000));
			ostentus_slide_set(o_dev, CH1_ONTIME, json_buf, strlen(json_buf));

			k_sem_give(&adc_data_sem);
		}
	));
}

void app_sensors_init(void)
{
	k_sem_init(&adc_data_sem, 0, 1);


	LOG_DBG("Setting up current clamp ADCs...");
	LOG_DBG("mcp3201_ch0.bus = %p", adc_ch0.spi.bus);
	LOG_DBG("mcp3201_ch0.config.cs.gpio.port = %s", adc_ch0.spi.config.cs.gpio.port->name);
	LOG_DBG("mcp3201_ch0.config.cs.gpio.pin = %u", adc_ch0.spi.config.cs.gpio.pin);
	LOG_DBG("mcp3201_ch1.bus = %p", adc_ch1.spi.bus);
	LOG_DBG("mcp3201_ch1.config.cs.gpio.port = %s", adc_ch1.spi.config.cs.gpio.port->name);
	LOG_DBG("mcp3201_ch1.config.cs.gpio.pin = %u", adc_ch1.spi.config.cs.gpio.pin);

	/* Semaphores to handle data access */
	k_sem_give(&adc_data_sem);
}

void app_sensors_set_client(struct golioth_client *sensors_client)
{
	client = sensors_client;
}
```

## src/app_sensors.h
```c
/*
 * Copyright (c) 2023 Golioth, Inc.
 *
 * SPDX-License-Identifier: Apache-2.0
 */

#ifndef __APP_WORK_H__
#define __APP_WORK_H__

/** The `app_work.c` file performs the important work of this application which
 * is to read sensor values and report them to the Golioth LightDB Stream as
 * time-series data.
 *
 * https://docs.golioth.io/firmware/zephyr-device-sdk/light-db-stream/
 */

#include <stdint.h>
#include <zephyr/drivers/spi.h>
#include <golioth/client.h>

extern struct k_sem adc_data_sem;

struct ontime {
	uint64_t ch0;
	uint64_t ch1;
};

typedef struct {
	const struct spi_dt_spec spi;
	uint8_t ch_num;
	int64_t laston;
	uint64_t runtime;
	uint64_t total_unreported;
	uint64_t total_cloud;
	bool loaded_from_cloud;

} adc_node_t;

void app_work_on_connect(void);
void app_sensors_read_and_stream(void);
int get_ontime(struct ontime *ot);
int reset_cumulative_totals(void);
void app_sensors_init(void);
void app_sensors_set_client(struct golioth_client *sensors_client);

/* Ostentus slide labels */
#define CH0_CUR_LABEL	"Current ch0"
#define CH1_CUR_LABEL	"Current ch1"
#define CH0_ONTIME_LBL  "Ontime ch0"
#define CH1_ONTIME_LBL  "Ontime ch1"
#define LABEL_BATTERY	"Battery"
#define LABEL_FIRMWARE	"Firmware"
#define SUMMARY_TITLE	"Channel 0:"

/**
 * Each Ostentus slide needs a unique key. You may add additional slides by
 * inserting elements with the name of your choice to this enum.
 */
typedef enum {
	CH0_CURRENT,
	CH1_CURRENT,
	CH0_ONTIME,
	CH1_ONTIME,
#ifdef CONFIG_ALUDEL_BATTERY_MONITOR
	BATTERY_V,
	BATTERY_PCT,
#endif
	FIRMWARE
} slide_key;

#endif /* __APP_WORK_H__ */
```

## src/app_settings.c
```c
/*
 * Copyright (c) 2023 Golioth, Inc.
 *
 * SPDX-License-Identifier: Apache-2.0
 */

#include <zephyr/logging/log.h>
LOG_MODULE_REGISTER(app_settings, LOG_LEVEL_DBG);

#include <golioth/client.h>
#include <golioth/settings.h>
#include "main.h"
#include "app_settings.h"

static int32_t _loop_delay_s = 60;
static uint16_t _adc_floor[2] = {0, 0};

#define LOOP_DELAY_S_MAX 43200
#define LOOP_DELAY_S_MIN 1
#define ADC_FLOOR_MIN 0
#define ADC_FLOOR_MAX 65535

int32_t get_loop_delay_s(void)
{
	return _loop_delay_s;
}

uint16_t get_adc_floor(uint8_t ch_num)
{
	if (ch_num >= sizeof(_adc_floor)) {
		return 0;
	} else {
		return _adc_floor[ch_num];
	}
}

static enum golioth_settings_status on_loop_delay_setting(int32_t new_value, void *arg)
{
	_loop_delay_s = new_value;
	LOG_INF("Set loop delay to %i seconds", new_value);
	wake_system_thread();
	return GOLIOTH_SETTINGS_SUCCESS;
}

static enum golioth_settings_status on_adc_floor_setting(int32_t new_value, void *arg)
{
	size_t ch_num = (size_t) arg;

	if (ch_num > 1)
	{
		LOG_ERR("Invalid channel number: %d", ch_num);
		return GOLIOTH_SETTINGS_GENERAL_ERROR;
	}

	/* Only update if value has changed */
	if (_adc_floor[ch_num] == new_value) {
		LOG_DBG("Received ADC_FLOOR_CH%d already matches local value.", ch_num);
	} else {
		_adc_floor[ch_num] = new_value;
		LOG_INF("Set ADC_FLOOR_CH%d to %d", ch_num, _adc_floor[ch_num]);
	}

	wake_system_thread();
	return GOLIOTH_SETTINGS_SUCCESS;
}

void app_settings_register(struct golioth_client *client)
{
	int err;
	struct golioth_settings *settings = golioth_settings_init(client);

	err = golioth_settings_register_int_with_range(settings,
							   "LOOP_DELAY_S",
							   LOOP_DELAY_S_MIN,
							   LOOP_DELAY_S_MAX,
							   on_loop_delay_setting,
							   NULL);

	if (err) {
		LOG_ERR("Failed to register loop_delay settings callback: %d", err);
	}

	err = golioth_settings_register_int_with_range(settings,
							   "ADC_FLOOR_CH0",
							   ADC_FLOOR_MIN,
							   ADC_FLOOR_MAX,
							   on_adc_floor_setting,
							   (void *) 0);

	if (err) {
		LOG_ERR("Failed to register ADC_FLOOR_CH0 settings callback: %d", err);
	}

	err = golioth_settings_register_int_with_range(settings,
							   "ADC_FLOOR_CH1",
							   ADC_FLOOR_MIN,
							   ADC_FLOOR_MAX,
							   on_adc_floor_setting,
							   (void *) 1);

	if (err) {
		LOG_ERR("Failed to register ADC_FLOOR_CH1 settings callback: %d", err);
	}
}
```

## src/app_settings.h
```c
/*
 * Copyright (c) 2023 Golioth, Inc.
 *
 * SPDX-License-Identifier: Apache-2.0
 */

/**
 * Process changes received from the Golioth Settings Service and return a code
 * to Golioth to indicate the success or failure of the update.
 *
 * https://docs.golioth.io/firmware/zephyr-device-sdk/device-settings-service
 */

#ifndef __APP_SETTINGS_H__
#define __APP_SETTINGS_H__

#include <stdint.h>
#include <golioth/client.h>

uint16_t get_adc_floor(uint8_t ch_num);
int32_t get_loop_delay_s(void);
void app_settings_register(struct golioth_client *client);

#endif /* __APP_SETTINGS_H__ */
```

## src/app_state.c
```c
/*
 * Copyright (c) 2023 Golioth, Inc.
 *
 * SPDX-License-Identifier: Apache-2.0
 */

#include <zephyr/logging/log.h>
LOG_MODULE_REGISTER(app_state, LOG_LEVEL_DBG);

#include <golioth/client.h>
#include <golioth/lightdb_state.h>
#include <zcbor_decode.h>
#include <zcbor_encode.h>

#include "main.h"
#include "app_sensors.h"
#include "app_state.h"

#define LIVE_RUNTIME_FMT "{\"live_runtime\":{\"ch0\":%lld,\"ch1\":%lld}"
#define CUMULATIVE_RUNTIME_FMT ",\"cumulative\":{\"ch0\":%lld,\"ch1\":%lld}}"
#define DEVICE_STATE_FMT LIVE_RUNTIME_FMT "}"
#define DEVICE_STATE_FMT_CUMULATIVE LIVE_RUNTIME_FMT CUMULATIVE_RUNTIME_FMT

static struct golioth_client *client;
static struct ontime ot;

static K_SEM_DEFINE(update_actual, 0, 1);

static void async_handler(struct golioth_client *client,
			  enum golioth_status status,
			  const struct golioth_coap_rsp_code *coap_rsp_code,
			  const char *path,
			  void *arg)
{
	if (status != GOLIOTH_OK) {
		LOG_WRN("Failed to set state: %d", status);
		return;
	}

	LOG_DBG("State successfully set");
}

static int app_state_update_actual(void)
{
	int err;
	char sbuf[sizeof(DEVICE_STATE_FMT) + 10]; /* space for uint16 values */

	err = get_ontime(&ot);

	if (err) {
		LOG_ERR("Failed to retrieve ontime: %d", err);
		return err;
	}

	snprintk(sbuf, sizeof(sbuf), DEVICE_STATE_FMT, ot.ch0, ot.ch1);
	err = golioth_lightdb_set_async(client,
					APP_STATE_ACTUAL_ENDP,
					GOLIOTH_CONTENT_TYPE_JSON,
					sbuf,
					strlen(sbuf),
					async_handler,
					NULL);
	if (err) {
		LOG_ERR("Unable to write to LightDB State: %d", err);
	}

	return err;
}

int app_state_report_ontime(adc_node_t *ch0, adc_node_t *ch1)
{
	int err;
	char json_buf[128];

	if (k_sem_take(&adc_data_sem, K_MSEC(300)) == 0) {

		if (ch0->loaded_from_cloud) {
			snprintk(json_buf, sizeof(json_buf), DEVICE_STATE_FMT_CUMULATIVE,
				 ch0->runtime, ch1->runtime,
				 (ch0->total_cloud + ch0->total_unreported),
				 (ch1->total_cloud + ch1->total_unreported));
		} else {
			snprintk(json_buf, sizeof(json_buf), DEVICE_STATE_FMT, ch0->runtime, ch1->runtime);
			/* Cumulative not yet loaded from LightDB State */
			/* Try to load it now */
			app_work_on_connect();
		}


		err = golioth_lightdb_set_async(client,
						APP_STATE_ACTUAL_ENDP,
						GOLIOTH_CONTENT_TYPE_JSON,
						json_buf,
						strlen(json_buf),
						async_handler,
						NULL);
		if (err) {
			LOG_ERR("Failed to send sensor data to Golioth: %d", err);
			k_sem_give(&adc_data_sem);

			return err;
		}

		if (ch0->loaded_from_cloud) {
			ch0->total_cloud += ch0->total_unreported;
			ch0->total_unreported = 0;
			ch1->total_cloud += ch1->total_unreported;
			ch1->total_unreported = 0;
		}

		k_sem_give(&adc_data_sem);
	}

	return 0;
}

int app_state_observe(struct golioth_client *state_client)
{
	int err;

	client = state_client;

	/* This will only run once. It updates the actual state of the device
	 * with the Golioth servers. Future updates will be sent whenever
	 * changes occur.
	 */
	err = app_state_update_actual();

	return err;
}
```

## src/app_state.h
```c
/*
 * Copyright (c) 2022 Golioth, Inc.
 *
 * SPDX-License-Identifier: Apache-2.0
 */

/** Observe and write to example endpoints for stateful data on the Golioth
 * LightDB State Service.
 *
 * https://docs.golioth.io/firmware/zephyr-device-sdk/light-db/
 */

#ifndef __APP_STATE_H__
#define __APP_STATE_H__

#include <golioth/client.h>
#include "app_sensors.h"

#define APP_STATE_DESIRED_ENDP "desired"
#define APP_STATE_ACTUAL_ENDP  "state"

int app_state_observe(struct golioth_client *state_client);
int app_state_report_ontime(adc_node_t *ch0, adc_node_t *ch1);

#endif /* __APP_STATE_H__ */
```

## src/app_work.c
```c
/*
 * Copyright (c) 2023 Golioth, Inc.
 *
 * SPDX-License-Identifier: Apache-2.0
 */

#include <zephyr/logging/log.h>
LOG_MODULE_REGISTER(app_work, LOG_LEVEL_DBG);

#include <stdlib.h>
#include <net/golioth/system_client.h>
#include <zephyr/drivers/spi.h>
#include <zephyr/drivers/gpio.h>
#include <zephyr/drivers/sensor.h>

#include "app_work.h"
#include "app_state.h"
#include "app_settings.h"

#ifdef CONFIG_LIB_OSTENTUS
#include <libostentus.h>
#endif

#ifdef CONFIG_ALUDEL_BATTERY_MONITOR
#include "battery_monitor/battery.h"
#endif

#define ADC_RAW_TO_AMP (0.003529412f)
#define SPI_OP	SPI_OP_MODE_MASTER | SPI_MODE_CPOL | SPI_MODE_CPHA | SPI_WORD_SET(8) | SPI_LINES_SINGLE

static struct golioth_client *client;

struct k_sem adc_data_sem;

/* Formatting string for sending sensor JSON to Golioth */
#define JSON_FMT "{\"ch0\":%d,\"ch1\":%d}"
#define ADC_STREAM_ENDP	"sensor"
#define ADC_CUMULATIVE_ENDP	"state/cumulative"

#define ADC_CH0 0
#define ADC_CH1 1

adc_node_t adc_ch0 = {
	.spi = SPI_DT_SPEC_GET(DT_NODELABEL(mcp3201_ch0), SPI_OP, 0),
	.ch_num = ADC_CH0,
	.laston = -1,
	.runtime = 0,
	.total_unreported = 0,
	.total_cloud = 0,
	.loaded_from_cloud = false
};

adc_node_t adc_ch1 = {
	.spi = SPI_DT_SPEC_GET(DT_NODELABEL(mcp3201_ch1), SPI_OP, 0),
	.ch_num = ADC_CH1,
	.laston = -1,
	.runtime = 0,
	.total_unreported = 0,
	.total_cloud = 0,
	.loaded_from_cloud = false
};

/* Store two values for each ADC reading */
struct mcp3201_data {
	uint16_t val1;
	uint16_t val2;
};

void get_ontime(struct ontime *ot)
{
	ot->ch0 = adc_ch0.runtime;
	ot->ch1 = adc_ch1.runtime;
}

/* Callback for LightDB Stream */
static int async_error_handler(struct golioth_req_rsp *rsp)
{
	if (rsp->err) {
		LOG_ERR("Async task failed: %d", rsp->err);
		return rsp->err;
	}

	return 0;
}

/*
 * Validate data received from MCP3201
 */
static int process_adc_reading(uint8_t buf_data[4], struct mcp3201_data *adc_data)
{
	if (buf_data[0] & 1<<5) {	/* Missing NULL bit */
		return -ENOTSUP;
	}

	uint16_t data_msb = 0;
	uint16_t data_lsb = 0;

	data_msb = buf_data[0] & 0x1F;
	data_msb |= (data_msb << 7) | (buf_data[1] >> 1);

	for (uint8_t i = 0; i < 12; i++) {
		bool bit_set = false;

		if (i < 2) {
			if (buf_data[1] & (1 << (1 - i))) {
				bit_set = true;
			}
		} else if (i < 10) {
			if (buf_data[2] & (1 << (2 + 7 - i))) {
				bit_set = true;
			}
		} else {
			if (buf_data[3] & (1 << (10 + 7 - i))) {
				bit_set = true;
			}
		}
		if (bit_set) {
			data_lsb |= (1 << i);
		}
	}

	adc_data->val1 = data_msb;
	adc_data->val2 = data_lsb;

	return 0;
}

static int get_adc_reading(adc_node_t *adc, struct mcp3201_data *adc_data)
{
	int err;
	static uint8_t my_buffer[4] = {0};
	struct spi_buf my_spi_buffer[1];

	my_spi_buffer[0].buf = my_buffer;
	my_spi_buffer[0].len = 4;
	const struct spi_buf_set rx_buff = { my_spi_buffer, 1 };

	err = spi_read_dt(&(adc->spi), &rx_buff);
	if (err) {
		LOG_INF("spi_read status: %d", err);
		return err;
	}
	LOG_DBG("Received 4 bytes: %d %d %d %d", my_buffer[0], my_buffer[1], my_buffer[2], my_buffer[3]);

	err = process_adc_reading(my_buffer, adc_data);
	if (err) {
		LOG_ERR("Failed to process ADC readings %d", err);
		return err;
	}

	LOG_INF("mcp3201_ch%d received two ADC readings: 0x%04x\t0x%04x",
		adc->ch_num, adc_data->val1, adc_data->val2);

	return 0;
}

static int push_adc_to_golioth(uint16_t ch0_data, uint16_t ch1_data)
{
	int err;
	char json_buf[128];

	snprintk(json_buf, sizeof(json_buf), JSON_FMT, ch0_data, ch1_data);

	err = golioth_stream_push_cb(client, ADC_STREAM_ENDP, GOLIOTH_CONTENT_FORMAT_APP_JSON,
				     json_buf, strlen(json_buf), async_error_handler, NULL);
	if (err) {
		LOG_ERR("Failed to send sensor data to Golioth: %d", err);
		return err;
	}

	app_state_report_ontime(&adc_ch0, &adc_ch1);

	return 0;
}

static int update_ontime(uint16_t adc_value, adc_node_t *ch)
{
	if (k_sem_take(&adc_data_sem, K_MSEC(300)) == 0) {
		if (adc_value <= get_adc_floor(ch->ch_num)) {
			ch->runtime = 0;
			ch->laston = -1;
		} else {
			int64_t ts = k_uptime_get();
			int64_t duration;

			if (ch->laston > 0) {
				duration = ts - ch->laston;
			} else {
				duration = 1;
			}
			ch->runtime += duration;
			ch->laston = ts;
			ch->total_unreported += duration;
		}
		k_sem_give(&adc_data_sem);

		return 0;
	}

	return -EACCES;
}

int reset_cumulative_totals(void)
{
	if (k_sem_take(&adc_data_sem, K_MSEC(5000)) == 0) {
		k_sem_give(&adc_data_sem);
		adc_ch0.total_cloud = 0;
		adc_ch1.total_cloud = 0;
		adc_ch0.total_unreported = 0;
		adc_ch1.total_unreported = 0;
		k_sem_give(&adc_data_sem);

		return 0;
	}

	LOG_ERR("Could not reset cumulative values; blocked by semaphore.");

	return -EACCES;
}

static int get_cumulative_handler(struct golioth_req_rsp *rsp)
{
	if (rsp->err) {
		LOG_ERR("Failed to receive cumulative value: %d", rsp->err);
		return rsp->err;
	}

	uint64_t decoded_ch0 = 0;
	uint64_t decoded_ch1 = 0;
	bool found_ch0 = false;
	bool found_ch1 = false;

	struct zcbor_string key;
	uint64_t data;
	bool ok;

	if ((rsp->len == 1) && (rsp->data[0] == 0xf6)) {
		/* This is `null` in CBOR */
		LOG_WRN("Cumulative state is null, use runtime as cumulative on next update.");
		if (k_sem_take(&adc_data_sem, K_MSEC(300)) == 0) {
			adc_ch0.loaded_from_cloud = true;
			adc_ch1.loaded_from_cloud = true;
			k_sem_give(&adc_data_sem);
		}
		return 0;
	}

	ZCBOR_STATE_D(decoding_state, 1, rsp->data, rsp->len, 1);
	ok = zcbor_map_start_decode(decoding_state);
	if (!ok) {
		goto cumulative_decode_error;
	}

	while (decoding_state->elem_count > 1) {
		ok = zcbor_tstr_decode(decoding_state, &key) &&
		     zcbor_uint64_decode(decoding_state, &data);
		if (!ok) {
			goto cumulative_decode_error;
		}

		if (strncmp(key.value, "ch0", 3) == 0) {
			found_ch0 = true;
			decoded_ch0 = data;
		} else if (strncmp(key.value, "ch1", 3) == 0) {
			found_ch1 = true;
			decoded_ch1 = data;
		} else {
			continue;
		}
	}

	if ((found_ch0 && found_ch1) == false) {
		goto cumulative_decode_error;
	} else {
		LOG_DBG("Decoded: ch0: %lld, ch1: %lld", decoded_ch0, decoded_ch1);
		if (k_sem_take(&adc_data_sem, K_MSEC(300)) == 0) {
			adc_ch0.total_cloud = decoded_ch0;
			adc_ch1.total_cloud = decoded_ch1;
			adc_ch0.loaded_from_cloud = true;
			adc_ch1.loaded_from_cloud = true;
			k_sem_give(&adc_data_sem);
		}
		return 0;
	}

cumulative_decode_error:
	LOG_ERR("ZCBOR Decoding Error");
	LOG_HEXDUMP_ERR(rsp->data, rsp->len, "cbor_payload");

	return -EBADMSG;
}

void app_work_on_connect(void)
{
	/* Get cumulative "on" time from Golioth LightDB State */
	int err;

	err = golioth_lightdb_get_cb(client, ADC_CUMULATIVE_ENDP, GOLIOTH_CONTENT_FORMAT_APP_CBOR,
				     get_cumulative_handler, NULL);
	if (err) {
		LOG_WRN("failed to get cumulative channel data from LightDB: %d", err);
	}
}

void app_work_init(struct golioth_client *work_client)
{
	client = work_client;
	k_sem_init(&adc_data_sem, 0, 1);


	LOG_DBG("Setting up current clamp ADCs...");
	LOG_DBG("mcp3201_ch0.bus = %p", adc_ch0.spi.bus);
	LOG_DBG("mcp3201_ch0.config.cs->gpio.port = %p", adc_ch0.spi.config.cs->gpio.port);
	LOG_DBG("mcp3201_ch0.config.cs->gpio.pin = %u", adc_ch0.spi.config.cs->gpio.pin);
	LOG_DBG("mcp3201_ch1.bus = %p", adc_ch1.spi.bus);
	LOG_DBG("mcp3201_ch1.config.cs->gpio.port = %p", adc_ch1.spi.config.cs->gpio.port);
	LOG_DBG("mcp3201_ch1.config.cs->gpio.pin = %u", adc_ch1.spi.config.cs->gpio.pin);

	/* Semaphores to handle data access */
	k_sem_give(&adc_data_sem);
}

/* this will be called by the main() loop */
/* do all of your work here! */
void app_work_sensor_read(void)
{
	int err = 0;
	struct mcp3201_data ch0_data, ch1_data;

	IF_ENABLED(CONFIG_ALUDEL_BATTERY_MONITOR, (
		read_and_report_battery();
		slide_set(BATTERY_V, get_batt_v_str(), strlen(get_batt_v_str()));
		slide_set(BATTERY_LVL, get_batt_lvl_str(), strlen(get_batt_lvl_str()));
	));


	get_adc_reading(&adc_ch0, &ch0_data);
	get_adc_reading(&adc_ch1, &ch1_data);

	/* Calculate the "On" time if readings are not zero */
	err = update_ontime(ch0_data.val1, &adc_ch0);
	err &= update_ontime(ch1_data.val1, &adc_ch1);

	if (err) {
		LOG_ERR("Failed to update ontime: %d", err);
	} else {
		LOG_DBG("Ontime:\t(ch0): %lld\t(ch1): %lld", adc_ch0.runtime, adc_ch1.runtime);
	}

	/* Send sensor data to Golioth */
	/* Two values were read for each sensor but we'll record only one from each
	 * channel as it's unlikely the two readings will be substantially
	 * different.
	 */
	push_adc_to_golioth(ch0_data.val1, ch1_data.val1);

	IF_ENABLED(CONFIG_LIB_OSTENTUS, (
		/* Update slide values on Ostentus
		 * - values should be sent as strings
		 * - use the enum from app_work.h for slide key values
		 */
		char json_buf[128];

		snprintk(json_buf, sizeof(json_buf), "%.2f A", (ch0_data.val1 * ADC_RAW_TO_AMP));
		slide_set(CH0_CURRENT, json_buf, strlen(json_buf));

		snprintk(json_buf, sizeof(json_buf), "%.2f A", (ch1_data.val1 * ADC_RAW_TO_AMP));
		slide_set(CH1_CURRENT, json_buf, strlen(json_buf));

		snprintk(json_buf, sizeof(json_buf), "%lld s", (adc_ch0.runtime / 1000));
		slide_set(CH0_ONTIME, json_buf, strlen(json_buf));

		snprintk(json_buf, sizeof(json_buf), "%lld s", (adc_ch1.runtime / 1000));
		slide_set(CH1_ONTIME, json_buf, strlen(json_buf));

	));
}
```

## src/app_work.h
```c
/*
 * Copyright (c) 2023 Golioth, Inc.
 *
 * SPDX-License-Identifier: Apache-2.0
 */

#ifndef __APP_WORK_H__
#define __APP_WORK_H__

/** The `app_work.c` file performs the important work of this application which
 * is to read sensor values and report them to the Golioth LightDB Stream as
 * time-series data.
 *
 * https://docs.golioth.io/firmware/zephyr-device-sdk/light-db-stream/
 */

#include <stdint.h>
#include <zephyr/drivers/spi.h>
#include <net/golioth/system_client.h>

extern struct k_sem adc_data_sem;

struct ontime {
	uint64_t ch0;
	uint64_t ch1;
};

typedef struct {
	const struct spi_dt_spec spi;
	uint8_t ch_num;
	int64_t laston;
	uint64_t runtime;
	uint64_t total_unreported;
	uint64_t total_cloud;
	bool loaded_from_cloud;

} adc_node_t;

/* Ostentus slide labels */
#define CH0_CUR_LABEL	"Current ch0"
#define CH1_CUR_LABEL	"Current ch1"
#define CH0_ONTIME_LBL  "Ontime ch0"
#define CH1_ONTIME_LBL  "Ontime ch1"
#define LABEL_BATTERY	"Battery"
#define LABEL_FIRMWARE	"Firmware"
#define SUMMARY_TITLE	"Channel 0:"

/**
 * Each Ostentus slide needs a unique key. You may add additional slides by
 * inserting elements with the name of your choice to this enum.
 */
typedef enum {
	CH0_CURRENT,
	CH1_CURRENT,
	CH0_ONTIME,
	CH1_ONTIME,
#ifdef CONFIG_ALUDEL_BATTERY_MONITOR
	BATTERY_V,
	BATTERY_LVL,
#endif
	FIRMWARE
} slide_key;

void app_work_init(struct golioth_client *work_client);
void app_work_on_connect(void);
void app_work_sensor_read(void);
int get_ontime(struct ontime *ot);
int reset_cumulative_totals(void);

#endif /* __APP_WORK_H__ */
```
